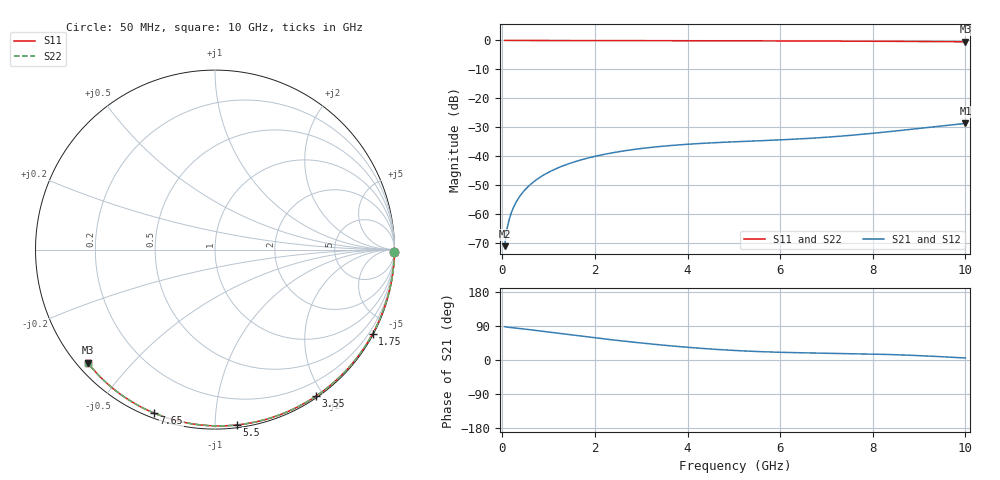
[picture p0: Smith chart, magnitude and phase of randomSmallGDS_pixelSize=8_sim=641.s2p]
! freq	dB(S11)	phase(S11)	dB(S12)	phase(S12)
!  dB(S21)	phase(S21)	dB(S22)	phase(S22)
!S-par simulation data
#  GHz  S  DB  R 50
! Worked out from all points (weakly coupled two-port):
!   200 points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, 50 MHz to 10 GHz, reference 50 ohm
!   highest |S21| = -28.60 dB at 10 GHz (marker M1); lowest = -70.9 dB at 50 MHz (marker M2)
!   lowest |S11| = -0.5 dB at 10 GHz (marker M3), VSWR 37.91, Z = 1.51 - j19 ohm
!   |S11| at or under -10 dB: nowhere
!   |S22| runs from -0.5 to 0.0 dB; largest |S21 - S12| = 0
!   S11 on the Smith chart (normalised r, x): 50 MHz: open; 1.75 GHz: 0.04, -4.00; 3.55 GHz: 0.02, -1.90; 5.5 GHz: 0.02, -1.13; 7.65 GHz: 0.02, -0.69; 10 GHz: 0.03, -0.38
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0.05  -0.00 -0.8  -70.93 87.9  -70.93 87.9  -0.00 -0.8
0.1  -0.00 -1.6  -65.06 86.8  -65.06 86.8  -0.00 -1.6
0.15  -0.00 -2.5  -61.63 86.1  -61.63 86.1  -0.00 -2.5
0.2  -0.00 -3.3  -59.18 85.5  -59.18 85.5  -0.00 -3.3
0.25  -0.00 -4.1  -57.27 84.9  -57.27 84.9  -0.00 -4.1
0.35  -0.00 -5.7  -54.39 83.5  -54.39 83.5  -0.00 -5.7
0.5  -0.01 -8.1  -51.33 81.4  -51.33 81.4  -0.01 -8.1
0.7  -0.01 -11.4  -48.46 78.3  -48.46 78.3  -0.01 -11.4
1  -0.02 -16.2  -45.46 73.7  -45.46 73.7  -0.02 -16.2
1.35  -0.03 -21.8  -42.99 68.3  -42.99 68.3  -0.03 -21.8
1.75  -0.04 -28.1  -40.96 62.2  -40.96 62.2  -0.04 -28.1
2.5  -0.05 -39.7  -38.40 51.5  -38.40 51.5  -0.05 -39.7
3.4  -0.07 -53.3  -36.56 40.0  -36.56 40.0  -0.07 -53.3
3.55  -0.07 -55.5  -36.34 38.3  -36.34 38.3  -0.07 -55.5
4.3  -0.09 -66.4  -35.49 30.7  -35.49 30.7  -0.09 -66.4
5.05  -0.12 -76.8  -34.91 24.9  -34.91 24.9  -0.12 -76.8
5.5  -0.13 -82.9  -34.62 22.4  -34.62 22.4  -0.13 -82.9
6.7  -0.19 -98.6  -33.69 18.5  -33.69 18.5  -0.19 -98.6
7.65  -0.25 -110.4  -32.53 16.7  -32.53 16.7  -0.25 -110.4
8.35  -0.30 -118.9  -31.45 14.5  -31.45 14.5  -0.30 -118.9
9.2  -0.37 -129.0  -29.99 10.4  -29.99 10.4  -0.37 -129.0
10  -0.46 -138.4  -28.60 5.3  -28.60 5.3  -0.46 -138.4
